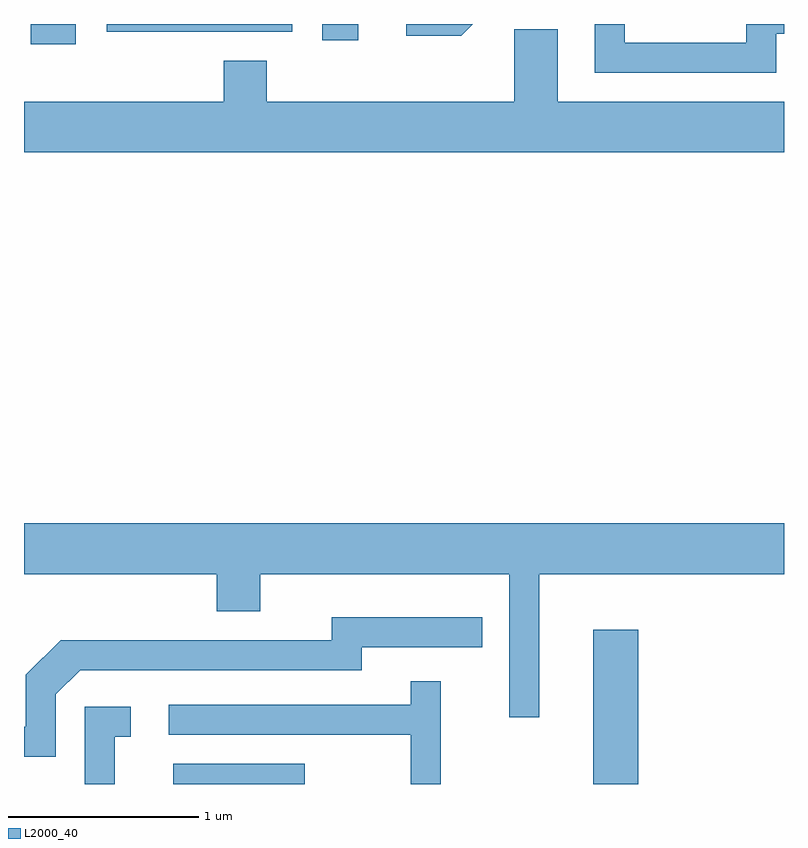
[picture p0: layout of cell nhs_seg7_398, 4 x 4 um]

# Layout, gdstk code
import gdstk
lib = gdstk.Library(unit=1e-6, precision=1e-09)
def R(c, l, rs):  # rectangles x0, y0, x1, y1
    for r in rs: c.add(gdstk.rectangle(r[:2], r[2:], *l))
def P(c, l, *ps):  # polygons
    for p in ps: c.add(gdstk.Polygon(p, *l))
L2000_40 = (2000, 40)

nhs_seg7_398 = lib.new_cell('nhs_seg7_398')
R(nhs_seg7_398, L2000_40, [(196.396,1784.252,197.089,1784.359), (198.606,1784.252,198.844,1785.064), (195.646,1788.146,195.884,1788.252), (197.181,1788.166,197.369,1788.252), (196.046,1788.211,197.024,1788.252)])
P(nhs_seg7_398, L2000_40, [(197.973,1788.252),(197.623,1788.252),(197.623,1788.191),(197.912,1788.191)],
  [(199.569,1788.201),(199.611,1788.201),(199.611,1788.252),(199.411,1788.252),(199.411,1788.154),(198.774,1788.154),(198.774,1788.252),(198.616,1788.252),(198.616,1787.996),(199.569,1787.996)],
  [(199.611,1787.844),(198.419,1787.844),(198.419,1788.224),(198.191,1788.224),(198.191,1787.844),(196.889,1787.844),(196.889,1788.059),(196.661,1788.059),(196.661,1787.844),(195.611,1787.844),(195.611,1787.576),(199.611,1787.576)],
  [(198.324,1785.356),(199.611,1785.356),(199.611,1785.624),(195.611,1785.624),(195.611,1785.356),(196.626,1785.356),(196.626,1785.161),(196.854,1785.161),(196.854,1785.356),(198.166,1785.356),(198.166,1784.603),(198.324,1784.603)],
  [(195.779,1784.724),(195.907,1784.851),(197.389,1784.851),(197.389,1784.971),(198.023,1784.971),(198.023,1785.129),(197.231,1785.129),(197.231,1785.009),(195.804,1785.009),(195.621,1784.827),(195.621,1784.554),(195.611,1784.554),(195.611,1784.396),(195.779,1784.396)],
  [(197.804,1784.793),(197.646,1784.793),(197.646,1784.669),(196.373,1784.669),(196.373,1784.511),(197.646,1784.511),(197.646,1784.252),(197.804,1784.252)],
  [(196.089,1784.501),(196.173,1784.501),(196.173,1784.659),(195.931,1784.659),(195.931,1784.252),(196.089,1784.252)])

lib.write_gds('nhs_seg7_398.gds')
